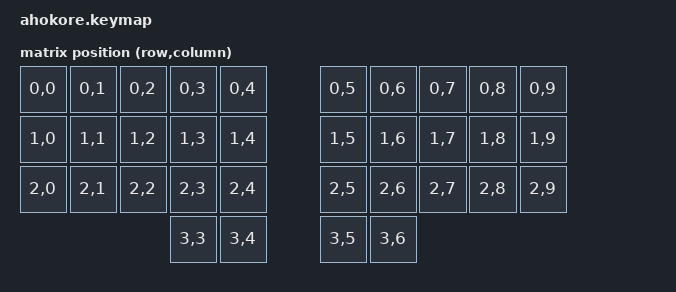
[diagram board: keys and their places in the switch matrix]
/* ahokore is a 3x5 but it has 3 thumb keys, get rid of the extras */
#include "standard-keymap.keymap"
#include <dt-bindings/zmk/matrix_transform.h>

/ {
    chosen {
        zmk,matrix_transform = &ahokore_transform;
    };

    ahokore_transform: ahokore_transform {
        compatible = "zmk,matrix-transform";
        columns = <10>;
        rows = <4>;
        map = <
            RC(0,0) RC(0,1) RC(0,2) RC(0,3) RC(0,4)      RC(0,5) RC(0,6) RC(0,7) RC(0,8) RC(0,9)
            RC(1,0) RC(1,1) RC(1,2) RC(1,3) RC(1,4)      RC(1,5) RC(1,6) RC(1,7) RC(1,8) RC(1,9)
            RC(2,0) RC(2,1) RC(2,2) RC(2,3) RC(2,4)      RC(2,5) RC(2,6) RC(2,7) RC(2,8) RC(2,9)
                                    RC(3,3) RC(3,4)      RC(3,5) RC(3,6)
        >;
    };
};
